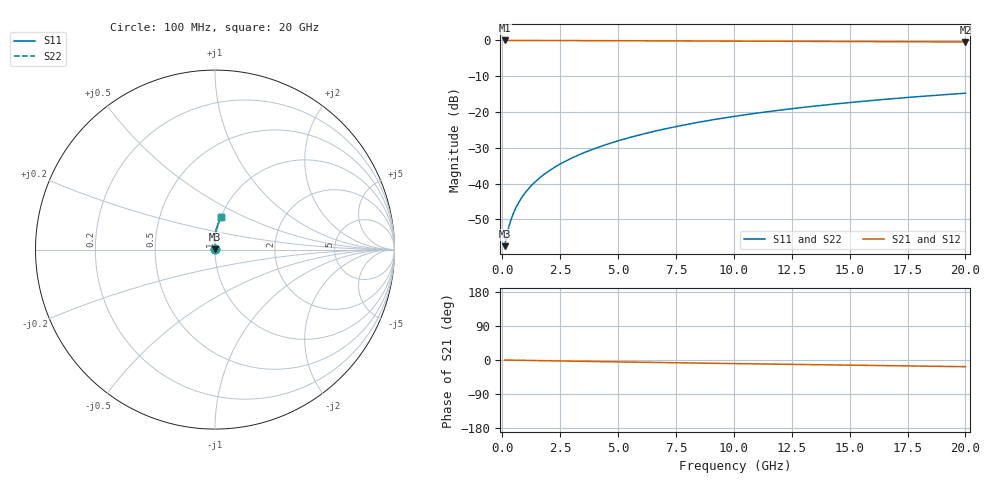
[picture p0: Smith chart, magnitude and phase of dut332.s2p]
! Touchstone file exported from HFSS 2024.1.0
!  File:  C:/UserFiles/LocalFiles/RDL_TSV_Batchsim/temp_RDL_bottom_332_1779611523.aedt
!  Generated:  04:34:42 PM May 24, 2026
!  Design:  RDL_bottom
!  Project:  temp_RDL_bottom_332_1779611523
!  Setup:  Setup1
!  Solution:  Sweep
! Variables:
!  dtsv = 10.80580581um
!  hbump = 3um
!  htsv = 77.45um
!  ldown = 218.51um
!  lrdl = 100um
!  p = 40
!  p1 = 55um
!  rhole = 1um
!  t = 450um
!  tdown = 3.53um
!  trdl = 3.915915916um
!  wdown = 27.03um
!  wrdl = 20um
# GHz S MA R 50.000000
! Terminal data exported
! Port[1] = RDL1_T1
! Port[2] = RDL1_T2
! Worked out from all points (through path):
!   200 points, 100 MHz to 20 GHz, reference 50 ohm
!   highest |S21| = -0.01 dB at 100 MHz (marker M1); lowest = -0.4 dB at 20 GHz (marker M2)
!   group delay of S21, straight-line fit = 2.41 ps
!   lowest |S11| = -57.5 dB at 100 MHz (marker M3), VSWR 1.00, Z = 50.1 + j0.0822 ohm
!   |S11| at or under -10 dB: start of sweep to end of sweep
!   |S22| runs from -57.5 to -14.7 dB; largest |S21 - S12| = 4.2e-15
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0.1  0.001337 37.8  0.9989 -0.1  0.9989 -0.1  0.001337 37.8
! Gamma 0 0 0 0
! Port Impedance 50 0 50 0
0.2  0.001949 55.2  0.9989 -0.2  0.9989 -0.2  0.001949 55.2
0.3  0.002619 63.7  0.9988 -0.3  0.9988 -0.3  0.002619 63.7
0.4  0.003299 68.8  0.9987 -0.4  0.9987 -0.4  0.003299 68.8
0.5  0.003986 72.3  0.9986 -0.5  0.9986 -0.5  0.003986 72.3
0.6  0.004679 75.0  0.9986 -0.6  0.9986 -0.6  0.004679 75.0
0.8  0.006086 78.7  0.9984 -0.8  0.9984 -0.8  0.006086 78.7
1.1  0.008239 82.2  0.9982 -1.2  0.9982 -1.2  0.008239 82.2
1.5  0.01117 85.0  0.9978 -1.6  0.9978 -1.6  0.01117 85.0
1.8  0.01341 86.4  0.9974 -1.9  0.9974 -1.9  0.01341 86.4
2.1  0.01568 87.5  0.9969 -2.2  0.9969 -2.2  0.01568 87.5
2.7  0.02034 89.1  0.9959 -2.8  0.9959 -2.8  0.02034 89.1
3.5  0.02678 90.4  0.9943 -3.6  0.9943 -3.6  0.02678 90.4
4.2  0.03264 91.1  0.9926 -4.3  0.9926 -4.3  0.03263 91.1
5  0.03957 91.5  0.9906 -5.0  0.9906 -5.0  0.03957 91.4
5.9  0.04765 91.5  0.9881 -5.9  0.9881 -5.9  0.04765 91.5
6.8  0.05598 91.3  0.9857 -6.7  0.9857 -6.7  0.05598 91.3
8.4  0.07121 90.3  0.9813 -8.1  0.9813 -8.1  0.0712 90.3
10.1  0.08774 88.9  0.9767 -9.5  0.9767 -9.5  0.08774 88.9
13.4  0.1201 85.7  0.9684 -12.3  0.9684 -12.3  0.1201 85.7
16.7  0.152 82.3  0.9604 -15.0  0.9604 -15.0  0.152 82.3
20  0.1831 78.9  0.9524 -17.6  0.9524 -17.6  0.1831 78.9
